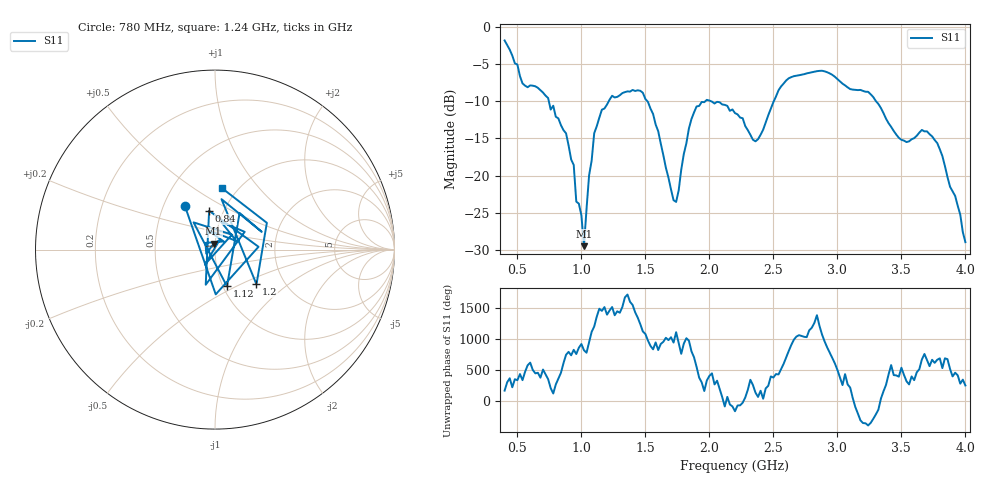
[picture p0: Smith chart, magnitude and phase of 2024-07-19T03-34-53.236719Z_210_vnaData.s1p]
!Created with skrf (http://scikit-rf.org).
# Hz S RI R 50.0
!freq ReS11 ImS11
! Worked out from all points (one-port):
!   181 points, 400 MHz to 4 GHz, reference 50 ohm
!   lowest |S11| = -29.5 dB at 1.02 GHz (marker M1), VSWR 1.07, Z = 49.1 + j3.18 ohm
!   |S11| at or under -10 dB: 746 MHz to 1.213 GHz (466.7 MHz wide, 47.7 % of centre); 2.017 GHz to 2.502 GHz (485.3 MHz wide, 21.5 % of centre); 3.303 GHz to end of sweep (the widest 3 of 4)
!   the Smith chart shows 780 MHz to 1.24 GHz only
!   S11 on the Smith chart (normalised r, x): 780 MHz: 0.64, +0.34; 840 MHz: 0.86, +0.39; 1.12 GHz: 1.04, -0.45; 1.2 GHz: 1.45, -0.62; 1.24 GHz: 0.84, +0.66
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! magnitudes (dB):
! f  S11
! 400 MHz  -1.8
! 540 MHz  -7.6
! 780 MHz  -10.6
! 840 MHz  -13.2
! 860 MHz  -13.9
! 940 MHz  -18.6
! 960 MHz  -23.5
! 1 GHz  -25.4
! 1.02 GHz  -29.5
! 1.06 GHz  -20.0
! 1.12 GHz  -13.3
! 1.2 GHz  -10.4
! 1.24 GHz  -9.2
! 1.3 GHz  -9.2
! 1.48 GHz  -8.8
! 1.6 GHz  -14.0
! 1.72 GHz  -23.3
! 1.76 GHz  -22.0
! 1.84 GHz  -13.6
! 1.9 GHz  -10.7
! 2.2 GHz  -11.6
! 2.36 GHz  -15.4
! 2.66 GHz  -6.6
! 3.1 GHz  -8.3
! 3.24 GHz  -8.7
! 3.56 GHz  -15.4
! 3.78 GHz  -15.6
! 4 GHz  -29.0
